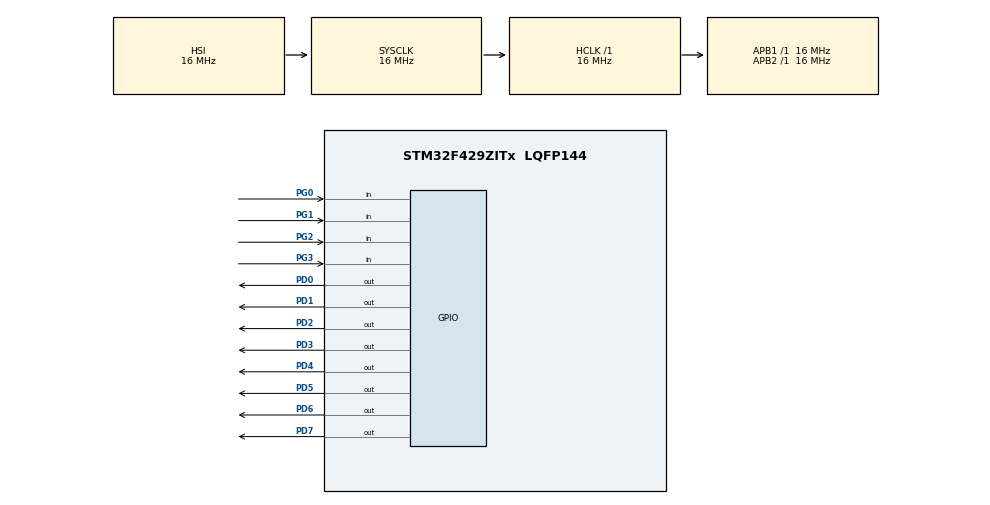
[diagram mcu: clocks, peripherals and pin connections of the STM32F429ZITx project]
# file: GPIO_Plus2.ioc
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Mcu.Family=STM32F4
Mcu.Name=STM32F429ZITx
Mcu.Package=LQFP144
NVIC.PriorityGroup=NVIC_PRIORITYGROUP_4
PA13.Mode=Serial_Wire
PA13.Signal=SYS_JTMS-SWDIO
PA14.Mode=Serial_Wire
PA14.Signal=SYS_JTCK-SWCLK
PD0.GPIO_PuPd=GPIO_PULLUP
PD0.GPIO_Speed=GPIO_SPEED_FREQ_HIGH
PD0.Signal=GPIO_Output
PD1.GPIO_PuPd=GPIO_PULLUP
PD1.GPIO_Speed=GPIO_SPEED_FREQ_HIGH
PD1.Signal=GPIO_Output
PD2.GPIO_PuPd=GPIO_PULLUP
PD2.GPIO_Speed=GPIO_SPEED_FREQ_HIGH
PD2.Signal=GPIO_Output
PD3.GPIO_PuPd=GPIO_PULLUP
PD3.GPIO_Speed=GPIO_SPEED_FREQ_HIGH
PD3.Signal=GPIO_Output
PD4.GPIO_PuPd=GPIO_PULLUP
PD4.GPIO_Speed=GPIO_SPEED_FREQ_HIGH
PD4.Signal=GPIO_Output
PD5.GPIO_PuPd=GPIO_PULLUP
PD5.GPIO_Speed=GPIO_SPEED_FREQ_HIGH
PD5.Signal=GPIO_Output
PD6.GPIO_PuPd=GPIO_PULLUP
PD6.GPIO_Speed=GPIO_SPEED_FREQ_HIGH
PD6.Signal=GPIO_Output
PD7.GPIO_PuPd=GPIO_PULLUP
PD7.GPIO_Speed=GPIO_SPEED_FREQ_HIGH
PD7.Signal=GPIO_Output
PG0.GPIO_PuPd=GPIO_PULLDOWN
PG0.Signal=GPIO_Input
PG1.GPIO_PuPd=GPIO_PULLDOWN
PG1.Signal=GPIO_Input
PG2.GPIO_PuPd=GPIO_PULLDOWN
PG2.Signal=GPIO_Input
PG3.GPIO_PuPd=GPIO_PULLDOWN
PG3.Signal=GPIO_Input
ProjectManager.HeapSize=0x200
ProjectManager.StackSize=0x400
ProjectManager.TargetToolchain=STM32CubeIDE
RCC.AHBFreq_Value=16000000
RCC.APB1Freq_Value=16000000
RCC.APB2Freq_Value=16000000
RCC.CortexFreq_Value=16000000
RCC.HSE_VALUE=25000000
RCC.HSI_VALUE=16000000
RCC.LSE_VALUE=32768
RCC.SYSCLKFreq_VALUE=16000000
RCC.VCOOutputFreq_Value=192000000
board=custom

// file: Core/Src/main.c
/* USER CODE BEGIN Header */
/**
  ******************************************************************************
  * @file           : main.c
  * @brief          : Main program body
  ******************************************************************************
  * @attention
  *
  * Copyright (c) 2022 STMicroelectronics.
  * All rights reserved.
  *
  * This software is licensed under terms that can be found in the LICENSE file
  * in the root directory of this software component.
  * If no LICENSE file comes with this software, it is provided AS-IS.
  *
  ******************************************************************************
  */
/* USER CODE END Header */
#include "main.h"

void SystemClock_Config(void);
static void MX_GPIO_Init(void);
/* USER CODE BEGIN PFP */
void LED_OnOff(int, int);
void LED_On(int, int);
void LED_Off(int);
/* USER CODE END PFP */

int main(void)
{
  /* USER CODE BEGIN 1 */
   uint16_t led = 0x01;
  /* USER CODE END 1 */

  /* MCU Configuration--------------------------------------------------------*/

  /* Reset of all peripherals, Initializes the Flash interface and the Systick. */
  HAL_Init();

  /* Configure the system clock */
  SystemClock_Config();

  /* Initialize all configured peripherals */
  MX_GPIO_Init();
  /* USER CODE BEGIN 2 */
  LED_OnOff(LED_ALL, 500);
  /* USER CODE END 2 */

  /* Infinite loop */
  /* USER CODE BEGIN WHILE */
  while (1)
  {
	  if( HAL_GPIO_ReadPin(GPIO_SW, SW1) == RESET){
		  for(led=1;led<=0x03;led*=2){
			  LED_OnOff(led,300);
		  }
     }
	  if( HAL_GPIO_ReadPin(GPIO_SW, SW2) == RESET){
		  for(led=1;led<=0x0f;led*=2){
			  LED_OnOff(led,300);
		  }
	  }
	  if( HAL_GPIO_ReadPin(GPIO_SW, SW3) == RESET){
		  for(led=1;led<=0x3f;led*=2){
			  LED_OnOff(led,300);
		  }
	  }
	  if( HAL_GPIO_ReadPin(GPIO_SW, SW4) == RESET){
		  for(led=1;led<=0xff;led*=2){
			  LED_OnOff(led,300);
		  }
	  }
    /* USER CODE END WHILE */

  }
}

void SystemClock_Config(void)
{
  RCC_OscInitTypeDef RCC_OscInitStruct = {0};
  RCC_ClkInitTypeDef RCC_ClkInitStruct = {0};

  /** Configure the main internal regulator output voltage
  */
  __HAL_RCC_PWR_CLK_ENABLE();
  __HAL_PWR_VOLTAGESCALING_CONFIG(PWR_REGULATOR_VOLTAGE_SCALE3);

  /** Initializes the RCC Oscillators according to the specified parameters
  * in the RCC_OscInitTypeDef structure.
  */
  RCC_OscInitStruct.OscillatorType = RCC_OSCILLATORTYPE_HSI;
  RCC_OscInitStruct.HSIState = RCC_HSI_ON;
  RCC_OscInitStruct.HSICalibrationValue = RCC_HSICALIBRATION_DEFAULT;
  RCC_OscInitStruct.PLL.PLLState = RCC_PLL_NONE;
  if (HAL_RCC_OscConfig(&RCC_OscInitStruct) != HAL_OK)
  {
    Error_Handler();
  }

  /** Initializes the CPU, AHB and APB buses clocks
  */
  RCC_ClkInitStruct.ClockType = RCC_CLOCKTYPE_HCLK|RCC_CLOCKTYPE_SYSCLK
                              |RCC_CLOCKTYPE_PCLK1|RCC_CLOCKTYPE_PCLK2;
  RCC_ClkInitStruct.SYSCLKSource = RCC_SYSCLKSOURCE_HSI;
  RCC_ClkInitStruct.AHBCLKDivider = RCC_SYSCLK_DIV1;
  RCC_ClkInitStruct.APB1CLKDivider = RCC_HCLK_DIV1;
  RCC_ClkInitStruct.APB2CLKDivider = RCC_HCLK_DIV1;

  if (HAL_RCC_ClockConfig(&RCC_ClkInitStruct, FLASH_LATENCY_0) != HAL_OK)
  {
    Error_Handler();
  }
}

static void MX_GPIO_Init(void)
{
  GPIO_InitTypeDef GPIO_InitStruct = {0};

  /* GPIO Ports Clock Enable */
  __HAL_RCC_GPIOG_CLK_ENABLE();
  __HAL_RCC_GPIOA_CLK_ENABLE();
  __HAL_RCC_GPIOD_CLK_ENABLE();

  /*Configure GPIO pin Output Level */
  HAL_GPIO_WritePin(GPIOD, GPIO_PIN_0|GPIO_PIN_1|GPIO_PIN_2|GPIO_PIN_3
                          |GPIO_PIN_4|GPIO_PIN_5|GPIO_PIN_6|GPIO_PIN_7, GPIO_PIN_RESET);

  /*Configure GPIO pins : PG0 PG1 PG2 PG3 */
  GPIO_InitStruct.Pin = GPIO_PIN_0|GPIO_PIN_1|GPIO_PIN_2|GPIO_PIN_3;
  GPIO_InitStruct.Mode = GPIO_MODE_INPUT;
  GPIO_InitStruct.Pull = GPIO_PULLDOWN;
  HAL_GPIO_Init(GPIOG, &GPIO_InitStruct);

  /*Configure GPIO pins : PD0 PD1 PD2 PD3
                           PD4 PD5 PD6 PD7 */
  GPIO_InitStruct.Pin = GPIO_PIN_0|GPIO_PIN_1|GPIO_PIN_2|GPIO_PIN_3
                          |GPIO_PIN_4|GPIO_PIN_5|GPIO_PIN_6|GPIO_PIN_7;
  GPIO_InitStruct.Mode = GPIO_MODE_OUTPUT_PP;
  GPIO_InitStruct.Pull = GPIO_PULLUP;
  GPIO_InitStruct.Speed = GPIO_SPEED_FREQ_HIGH;
  HAL_GPIO_Init(GPIOD, &GPIO_InitStruct);

}

/* USER CODE BEGIN 4 */
void LED_OnOff(int led, int interval)
{
   HAL_GPIO_WritePin(GPIO_LED, led, GPIO_PIN_SET);
   HAL_Delay(interval);
   HAL_GPIO_WritePin(GPIO_LED, led, GPIO_PIN_RESET);
}
void LED_On(int led, int interval)
{
   HAL_GPIO_WritePin(GPIO_LED, led, GPIO_PIN_SET);
   HAL_Delay(interval);

}
void LED_Off(int led)
{
   HAL_GPIO_WritePin(GPIO_LED, led, GPIO_PIN_RESET);
}
/* USER CODE END 4 */

void Error_Handler(void)
{
  __disable_irq();
  while (1)
  {
  }
}
